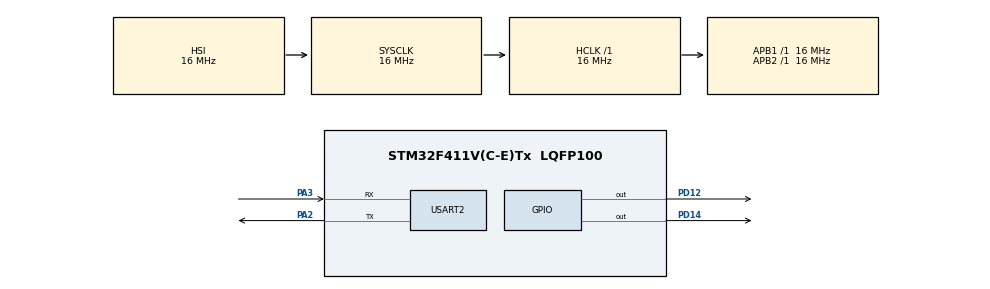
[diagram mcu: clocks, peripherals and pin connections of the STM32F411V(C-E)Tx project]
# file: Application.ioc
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Mcu.Family=STM32F4
Mcu.Name=STM32F411V(C-E)Tx
Mcu.Package=LQFP100
NVIC.PriorityGroup=NVIC_PRIORITYGROUP_4
PA2.Mode=Asynchronous
PA2.Signal=USART2_TX
PA3.Mode=Asynchronous
PA3.Signal=USART2_RX
PD12.Signal=GPIO_Output
PD14.Signal=GPIO_Output
ProjectManager.HeapSize=0x200
ProjectManager.StackSize=0x400
ProjectManager.TargetToolchain=STM32CubeIDE
RCC.AHBFreq_Value=16000000
RCC.APB1Freq_Value=16000000
RCC.APB2Freq_Value=16000000
RCC.CortexFreq_Value=16000000
RCC.HSE_VALUE=25000000
RCC.HSI_VALUE=16000000
RCC.LSE_VALUE=32768
RCC.SYSCLKFreq_VALUE=16000000
RCC.VCOOutputFreq_Value=192000000
USART2.VirtualMode=VM_ASYNC
board=custom

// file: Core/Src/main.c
/* USER CODE BEGIN Header */
/**
  ******************************************************************************
  * @file           : main.c
  * @brief          : Main program body
  ******************************************************************************
  * @attention
  *
  * Copyright (c) 2024 STMicroelectronics.
  * All rights reserved.
  *
  * This software is licensed under terms that can be found in the LICENSE file
  * in the root directory of this software component.
  * If no LICENSE file comes with this software, it is provided AS-IS.
  *
  ******************************************************************************
  */
/* USER CODE END Header */
#include "main.h"

/* USER CODE BEGIN Includes */
#include "stdio.h"
/* USER CODE END Includes */

/* USER CODE BEGIN PD */
#define Major		0	// Application Major version Number
#define Minor		1	// Application Minor version Number
/* USER CODE END PD */

UART_HandleTypeDef huart2;

/* USER CODE BEGIN PV */
const uint8_t App_Version[2] = {Major, Minor};
/* USER CODE END PV */

void SystemClock_Config(void);
static void MX_GPIO_Init(void);
static void MX_USART2_UART_Init(void);

/* USER CODE BEGIN 0 */
int _write(int file, char *ptr, int len)
{
	int i = 0;
	for(i = 0; i < len; i++)
	{
		ITM_SendChar(*ptr++);

	}
	return len;
}
/* USER CODE END 0 */

int main(void)
{

  /* MCU Configuration--------------------------------------------------------*/

  /* Reset of all peripherals, Initializes the Flash interface and the Systick. */
  HAL_Init();

  /* Configure the system clock */
  SystemClock_Config();

  /* Initialize all configured peripherals */
  MX_GPIO_Init();
  MX_USART2_UART_Init();
  /* USER CODE BEGIN 2 */
  printf(" Starting Application (%d.%d)\n", App_Version[0], App_Version[1]);
  /* USER CODE END 2 */

  /* Infinite loop */
  while (1)
  {

    /* USER CODE BEGIN 3 */
	  HAL_GPIO_TogglePin(GPIOD, GPIO_PIN_14);
	  HAL_Delay(1000);
  }
  /* USER CODE END 3 */
}

void SystemClock_Config(void)
{
  RCC_OscInitTypeDef RCC_OscInitStruct = {0};
  RCC_ClkInitTypeDef RCC_ClkInitStruct = {0};

  /** Configure the main internal regulator output voltage
  */
  __HAL_RCC_PWR_CLK_ENABLE();
  __HAL_PWR_VOLTAGESCALING_CONFIG(PWR_REGULATOR_VOLTAGE_SCALE1);

  /** Initializes the RCC Oscillators according to the specified parameters
  * in the RCC_OscInitTypeDef structure.
  */
  RCC_OscInitStruct.OscillatorType = RCC_OSCILLATORTYPE_HSI;
  RCC_OscInitStruct.HSIState = RCC_HSI_ON;
  RCC_OscInitStruct.HSICalibrationValue = RCC_HSICALIBRATION_DEFAULT;
  RCC_OscInitStruct.PLL.PLLState = RCC_PLL_NONE;
  if (HAL_RCC_OscConfig(&RCC_OscInitStruct) != HAL_OK)
  {
    Error_Handler();
  }

  /** Initializes the CPU, AHB and APB buses clocks
  */
  RCC_ClkInitStruct.ClockType = RCC_CLOCKTYPE_HCLK|RCC_CLOCKTYPE_SYSCLK
                              |RCC_CLOCKTYPE_PCLK1|RCC_CLOCKTYPE_PCLK2;
  RCC_ClkInitStruct.SYSCLKSource = RCC_SYSCLKSOURCE_HSI;
  RCC_ClkInitStruct.AHBCLKDivider = RCC_SYSCLK_DIV1;
  RCC_ClkInitStruct.APB1CLKDivider = RCC_HCLK_DIV1;
  RCC_ClkInitStruct.APB2CLKDivider = RCC_HCLK_DIV1;

  if (HAL_RCC_ClockConfig(&RCC_ClkInitStruct, FLASH_LATENCY_0) != HAL_OK)
  {
    Error_Handler();
  }
}

static void MX_USART2_UART_Init(void)
{

  huart2.Instance = USART2;
  huart2.Init.BaudRate = 115200;
  huart2.Init.WordLength = UART_WORDLENGTH_8B;
  huart2.Init.StopBits = UART_STOPBITS_1;
  huart2.Init.Parity = UART_PARITY_NONE;
  huart2.Init.Mode = UART_MODE_TX_RX;
  huart2.Init.HwFlowCtl = UART_HWCONTROL_NONE;
  huart2.Init.OverSampling = UART_OVERSAMPLING_16;
  if (HAL_UART_Init(&huart2) != HAL_OK)
  {
    Error_Handler();
  }

}

static void MX_GPIO_Init(void)
{
  GPIO_InitTypeDef GPIO_InitStruct = {0};

  /* GPIO Ports Clock Enable */
  __HAL_RCC_GPIOA_CLK_ENABLE();
  __HAL_RCC_GPIOD_CLK_ENABLE();

  /*Configure GPIO pin Output Level */
  HAL_GPIO_WritePin(GPIOD, GPIO_PIN_12|GPIO_PIN_14, GPIO_PIN_RESET);

  /*Configure GPIO pins : PD12 PD14 */
  GPIO_InitStruct.Pin = GPIO_PIN_12|GPIO_PIN_14;
  GPIO_InitStruct.Mode = GPIO_MODE_OUTPUT_PP;
  GPIO_InitStruct.Pull = GPIO_NOPULL;
  GPIO_InitStruct.Speed = GPIO_SPEED_FREQ_LOW;
  HAL_GPIO_Init(GPIOD, &GPIO_InitStruct);

}

/* USER CODE BEGIN 4 */
#ifdef __GNUC__
int __io_putchar(int ch)
#else
int fputc(int ch, FILE *f)
#endif
{
	HAL_UART_Transmit(&huart2, (uint8_t *)ch, 1, HAL_MAX_DELAY);

	return ch;
}
//----------------------------------------------------------------------------------------------------

/* USER CODE END 4 */

void Error_Handler(void)
{
  __disable_irq();
  while (1)
  {
  }
}
